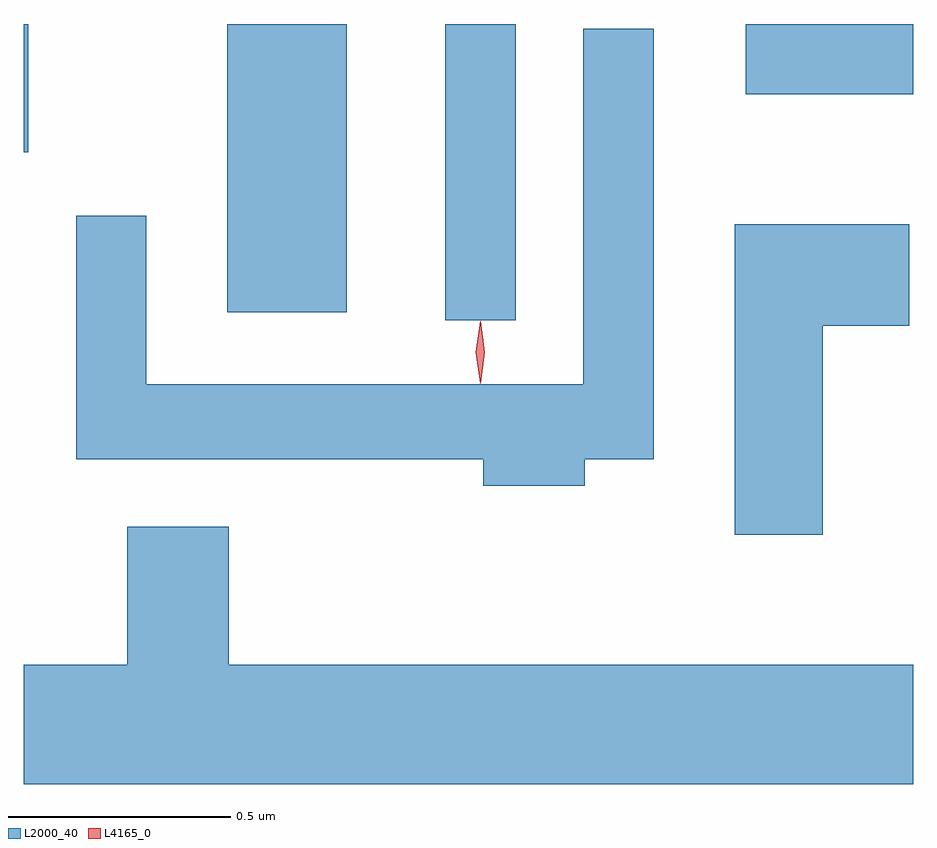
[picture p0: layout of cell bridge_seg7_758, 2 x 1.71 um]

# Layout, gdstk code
import gdstk
lib = gdstk.Library(unit=1e-6, precision=1e-09)
def R(c, l, rs):  # rectangles x0, y0, x1, y1
    for r in rs: c.add(gdstk.rectangle(r[:2], r[2:], *l))
def P(c, l, *ps):  # polygons
    for p in ps: c.add(gdstk.Polygon(p, *l))
L2000_40 = (2000, 40)
L4165_0 = (4165, 0)

bridge_seg7_758 = lib.new_cell('bridge_seg7_758')
R(bridge_seg7_758, L2000_40, [(607.216,1753.098,607.374,1753.764), (606.726,1753.116,606.994,1753.764), (606.268,1753.476,606.279,1753.764), (607.891,1753.606,608.268,1753.764)])
P(bridge_seg7_758, L2000_40, [(607.529,1752.786),(607.684,1752.786),(607.684,1753.753),(607.526,1753.753),(607.526,1752.954),(606.544,1752.954),(606.544,1753.333),(606.386,1753.333),(606.386,1752.786),(607.301,1752.786),(607.301,1752.726),(607.529,1752.726)],
  [(608.064,1753.086),(608.259,1753.086),(608.259,1753.314),(607.866,1753.314),(607.866,1752.616),(608.064,1752.616)],
  [(608.268,1752.324),(606.729,1752.324),(606.729,1752.634),(606.501,1752.634),(606.501,1752.324),(606.268,1752.324),(606.268,1752.056),(608.268,1752.056)])
P(bridge_seg7_758, L4165_0, [(607.294,1752.957),(607.294,1752.957),(607.284,1753.026),(607.294,1753.096),(607.294,1753.096),(607.295,1753.096),(607.304,1753.026),(607.295,1752.957)],
  [(607.294,1752.959),(607.294,1752.96),(607.284,1753.026),(607.294,1753.092),(607.294,1753.093),(607.295,1753.092),(607.304,1753.026),(607.295,1752.96)])

lib.write_gds('bridge_seg7_758.gds')
